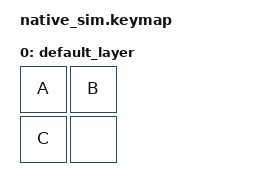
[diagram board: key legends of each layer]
#include <behaviors.dtsi>
#include <dt-bindings/zmk/keys.h>
#include <dt-bindings/zmk/kscan_mock.h>

/ {
    keymap {
        compatible = "zmk,keymap";

        default_layer {
            bindings = <
                &kp A &kp B
                &kp C &none
            >;
        };
    };
};

&kscan {
    /delete-property/ exit-after;
    /* Mock reuses each delay as the gap after its event.
     * The &none tap sets where the burst starts. */
    events = <
        ZMK_MOCK_PRESS(1,1,100)
        ZMK_MOCK_RELEASE(1,1,100)
        ZMK_MOCK_PRESS(0,0,1)
        ZMK_MOCK_PRESS(0,1,1)
        ZMK_MOCK_PRESS(1,0,1)
        ZMK_MOCK_RELEASE(0,0,1)
        ZMK_MOCK_RELEASE(0,1,1)
        ZMK_MOCK_RELEASE(1,0,10)
    >;
};
